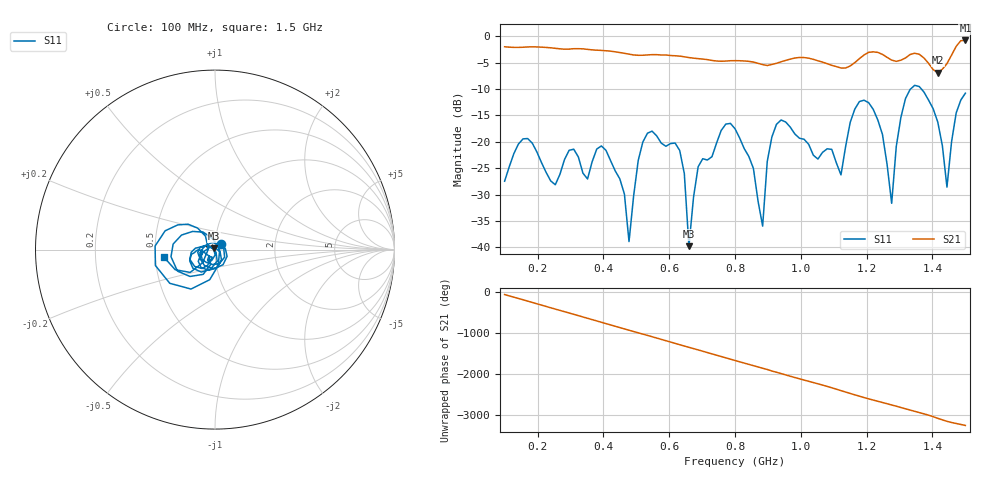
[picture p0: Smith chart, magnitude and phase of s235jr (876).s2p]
! NanoVNA-App
! Date: 2025-09-25 15:10:59
! Start: 100MHz Stop: 1,5GHz Points: 101
! S-Parameter data: F S11 S21 S12 S22
# Hz S RI R 50
!  Frequency  S11_Real  S11_Imag  S21_Real  S21_Imag  S12_Real  S12_Imag  S22_Real  S22_Imag
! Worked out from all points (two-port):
!   101 points, 100 MHz to 1.5 GHz, reference 50 ohm
!   highest |S21| = -0.77 dB at 1.5 GHz (marker M1); lowest = -6.9 dB at 1.416 GHz (marker M2)
!   |S21| within 3 dB of the highest: start of sweep to 635.1 MHz; 1.187 GHz to 1.257 GHz (69.8 MHz wide, 5.71 % of centre) (the widest 2 of 4)
!   lowest |S11| = -39.8 dB at 660 MHz (marker M3), VSWR 1.02, Z = 49.2 + j0.612 ohm
!   |S11| at or under -10 dB: start of sweep to 1.333 GHz; 1.367 GHz to end of sweep
!   S12 and S22 are empty: the file has one direction only
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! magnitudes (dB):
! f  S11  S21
! 100 MHz  -27.5  -2.0
! 156 MHz  -19.4  -2.1
! 338 MHz  -25.9  -2.4
! 408 MHz  -21.6  -2.7
! 478 MHz  -38.9  -3.4
! 520 MHz  -20.0  -3.6
! 576 MHz  -20.2  -3.5
! 632 MHz  -21.6  -3.7
! 660 MHz  -39.8  -4.0
! 688 MHz  -24.7  -4.2
! 800 MHz  -17.5  -4.6
! 884 MHz  -36.0  -5.4
! 898 MHz  -23.7  -5.5
! 926 MHz  -16.7  -5.1
! 1.038 GHz  -22.5  -4.3
! 1.122 GHz  -26.3  -6.0
! 1.206 GHz  -12.6  -3.0
! 1.276 GHz  -31.7  -4.5
! 1.332 GHz  -10.1  -3.4
! 1.416 GHz  -16.2  -6.9
! 1.444 GHz  -28.6  -5.2
! 1.5 GHz  -10.8  -0.8
